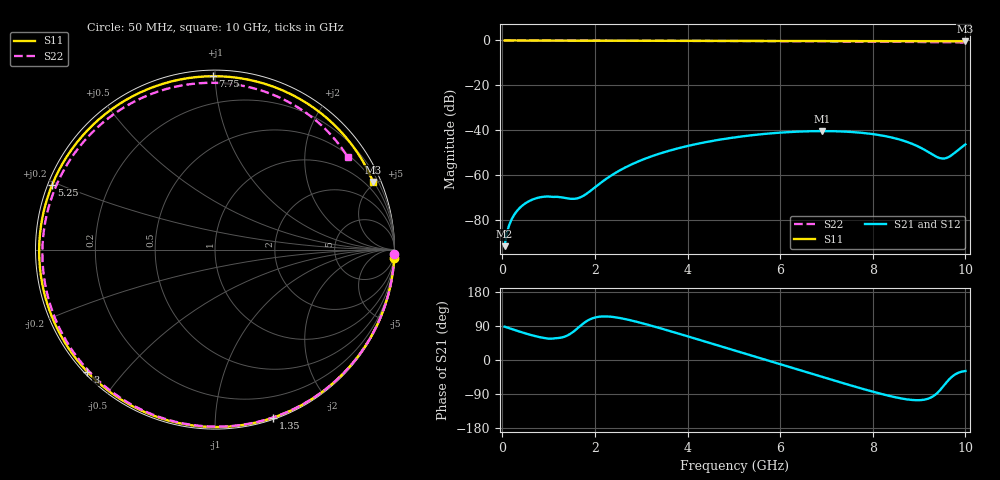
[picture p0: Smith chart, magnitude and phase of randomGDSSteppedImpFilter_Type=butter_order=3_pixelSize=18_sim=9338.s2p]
! freq	dB(S11)	phase(S11)	dB(S12)	phase(S12)
!  dB(S21)	phase(S21)	dB(S22)	phase(S22)
!S-par simulation data
#  GHz  S  DB  R 50
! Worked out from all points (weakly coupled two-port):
!   200 points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, 50 MHz to 10 GHz, reference 50 ohm
!   highest |S21| = -40.38 dB at 6.9 GHz (marker M1); lowest = -91.7 dB at 50 MHz (marker M2)
!   lowest |S11| = -0.4 dB at 10 GHz (marker M3), VSWR 46.63, Z = 26.3 + j241 ohm
!   |S11| at or under -10 dB: nowhere
!   |S22| runs from -0.9 to 0.0 dB; largest |S21 - S12| = 0
!   S11 on the Smith chart (normalised r, x): 50 MHz: 0, -41; 1.35 GHz: 0.01, -1.41; 3 GHz: 0.01, -0.40; 5.25 GHz: 0.01, +0.19; 7.75 GHz: 0.03, +0.99; 10 GHz: 0.53, +4.82
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0.05  -0.00 -2.8  -91.66 87.9  -91.66 87.9  -0.00 -1.4
0.2  -0.02 -11.2  -79.75 81.8  -79.75 81.8  -0.01 -5.7
0.4  -0.03 -22.2  -74.15 73.9  -74.15 73.9  -0.02 -11.4
0.7  -0.05 -38.3  -70.52 63.4  -70.52 63.4  -0.03 -19.9
1.35  -0.08 -70.8  -70.17 61.8  -70.17 61.8  -0.05 -38.2
1.55  -0.09 -80.1  -70.56 76.1  -70.56 76.1  -0.05 -43.8
1.75  -0.10 -88.9  -69.22 96.4  -69.22 96.4  -0.06 -49.3
2.4  -0.12 -115.0  -59.56 113.4  -59.56 113.4  -0.09 -67.1
3  -0.13 -136.2  -53.36 97.8  -53.36 97.8  -0.11 -83.3
3.4  -0.14 -149.1  -50.40 84.2  -50.40 84.2  -0.12 -94.0
4.2  -0.17 -172.9  -46.11 55.3  -46.11 55.3  -0.16 -115.4
5.05  -0.20 163.7  -43.10 23.9  -43.10 23.9  -0.22 -138.6
5.25  -0.21 158.3  -42.56 16.6  -42.56 16.6  -0.23 -144.2
6  -0.24 138.4  -41.07 -11.2  -41.07 -11.2  -0.30 -166.0
6.7  -0.26 119.6  -40.42 -37.0  -40.42 -37.0  -0.37 172.1
6.9  -0.27 114.2  -40.38 -44.4  -40.38 -44.4  -0.39 165.4
7.75  -0.30 90.7  -41.13 -75.0  -41.13 -75.0  -0.49 134.8
8.35  -0.32 73.4  -42.97 -94.5  -42.97 -94.5  -0.57 110.6
8.95  -0.33 55.7  -46.95 -106.1  -46.95 -106.1  -0.66 84.3
9.5  -0.35 38.9  -52.62 -72.8  -52.62 -72.8  -0.76 58.8
9.65  -0.35 34.2  -51.81 -51.0  -51.81 -51.0  -0.79 51.7
10  -0.37 23.2  -46.30 -29.1  -46.30 -29.1  -0.90 34.8
